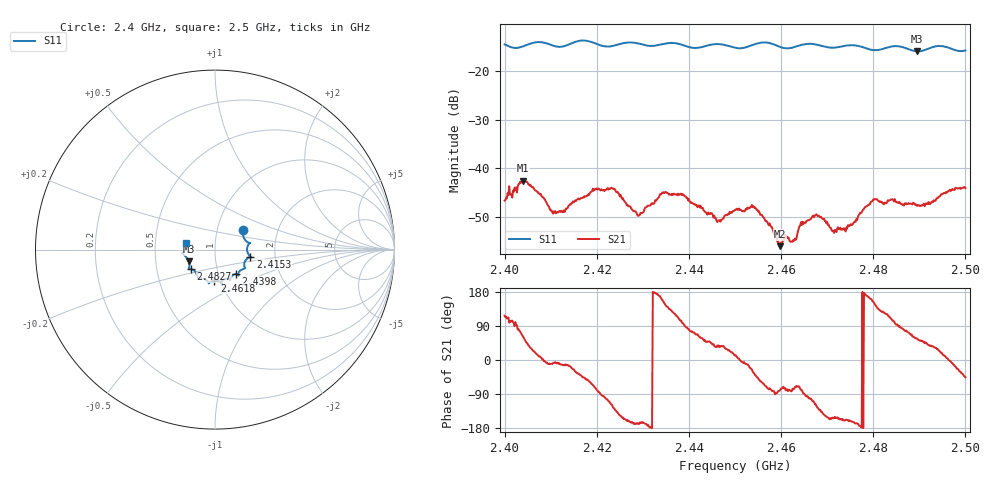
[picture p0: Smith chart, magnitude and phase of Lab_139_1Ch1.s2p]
# Hz S RI R 50
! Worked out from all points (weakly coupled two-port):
!   601 points, 2.4 GHz to 2.5 GHz, reference 50 ohm
!   highest |S21| = -42.55 dB at 2.404 GHz (marker M1); lowest = -56.1 dB at 2.4597 GHz (marker M2)
!   lowest |S11| = -15.9 dB at 2.4895 GHz (marker M3), VSWR 1.38, Z = 37 - j5.02 ohm
!   |S11| at or under -10 dB: start of sweep to end of sweep
!   S12 and S22 are empty: the file has one direction only
!   S11 on the Smith chart (normalised r, x): 2.4 GHz: 1.33, +0.30; 2.4153 GHz: 1.48, -0.12; 2.4398 GHz: 1.21, -0.34; 2.4618 GHz: 0.94, -0.33; 2.4827 GHz: 0.75, -0.17; 2.5 GHz: 0.72, +0.06
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2.4e9  0.1559 0.107  -0.00209 0.00414  0 0  0 0
2.404e9  0.174 0.0469  0.00351 0.00658  0 0  0 0
2.410667e9  0.1816 0.019  0.00356 -0.000506  0 0  0 0
2.415333e9  0.1966 -0.039  0.00399 -0.00242  0 0  0 0
2.416667e9  0.2026 -0.0431  0.00369 -0.00323  0 0  0 0
2.4235e9  0.1626 -0.0825  -0.00352 -0.00509  0 0  0 0
2.429333e9  0.1589 -0.1073  -0.00318 -0.000848  0 0  0 0
2.433333e9  0.1297 -0.1337  -0.00489 0.000767  0 0  0 0
2.434833e9  0.1293 -0.1427  -0.00474 0.0031  0 0  0 0
2.439833e9  0.1156 -0.1357  0.000663 0.0046  0 0  0 0
2.4465e9  0.0848 -0.1705  0.00227 0.00181  0 0  0 0
2.45e9  0.0655 -0.1622  0.00365 0.000756  0 0  0 0
2.454167e9  0.0355 -0.1856  0.00319 -0.00227  0 0  0 0
2.459667e9  0.0246 -0.1772  0.00024 -0.00156  0 0  0 0
2.461833e9  -0.00329 -0.1728  0.000344 -0.00175  0 0  0 0
2.466667e9  -0.0348 -0.188  -0.000823 -0.003  0 0  0 0
2.4735e9  -0.0849 -0.1601  -0.00223 -0.000845  0 0  0 0
2.48e9  -0.1099 -0.1229  -0.00428 0.00214  0 0  0 0
2.482667e9  -0.1349 -0.1086  -0.00238 0.00371  0 0  0 0
2.483333e9  -0.1401 -0.1082  -0.00197 0.0042  0 0  0 0
2.4895e9  -0.1459 -0.0661  0.00229 0.00342  0 0  0 0
2.5e9  -0.1593 0.0386  0.00435 -0.00447  0 0  0 0
